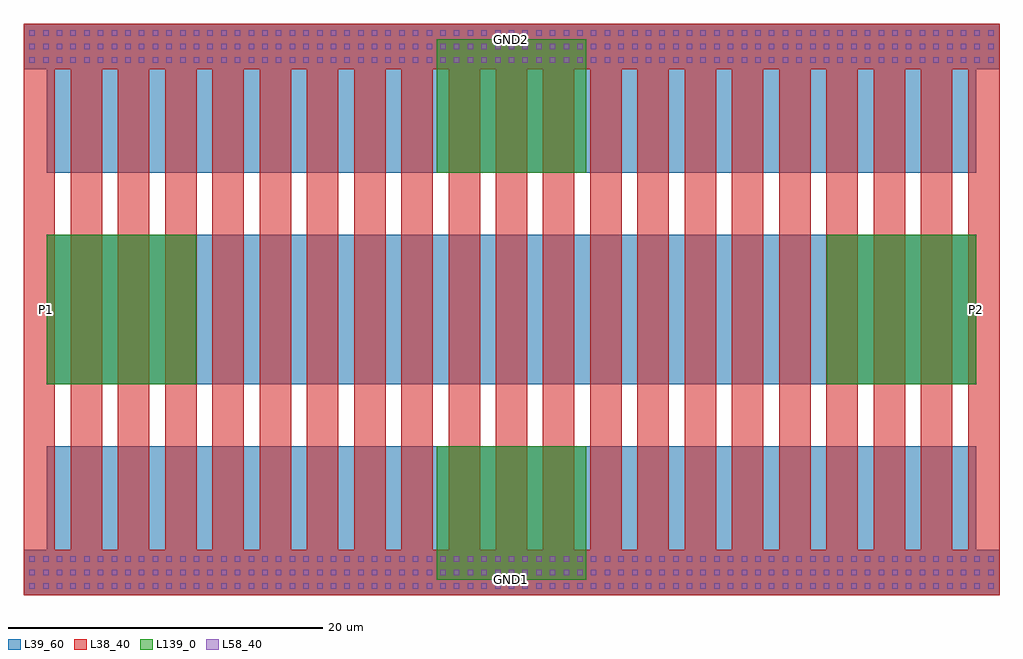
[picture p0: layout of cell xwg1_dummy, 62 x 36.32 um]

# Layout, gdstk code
import gdstk
lib = gdstk.Library(unit=1e-6, precision=1e-09)
def R(c, l, rs):  # rectangles x0, y0, x1, y1
    for r in rs: c.add(gdstk.rectangle(r[:2], r[2:], *l))
def A(c, l, x, y, w, h, nx, ny, dx, dy):  # array of equal rectangles
    R(c, l, [(x+i*dx, y+j*dy, x+i*dx+w, y+j*dy+h) for i in range(nx) for j in range(ny)])
L38_40 = (38, 40)
L39_60 = (39, 60)
L58_40 = (58, 40)
L139_0 = (139, 0)

xwg1_dummy = lib.new_cell('xwg1_dummy')
A(xwg1_dummy, L38_40, -1.485, -13.42, 2, 36.32, 21, 1, 3, 0)
R(xwg1_dummy, L38_40, [(-1.485,-13.42,60.515,-10.52), (-1.485,20,60.515,22.9)])
R(xwg1_dummy, L39_60, [(-1.485,-13.42,60.515,-10.52), (0,-12.42,59.03,-3.94), (0,0,59.03,9.48), (0,13.42,59.03,21.9), (-1.485,20,60.515,22.9)])
A(xwg1_dummy, L58_40, -1.11, -13.015, 0.35, 0.35, 71, 3, 0.87, 0.87)
A(xwg1_dummy, L58_40, -1.11, 20.405, 0.35, 0.35, 71, 3, 0.87, 0.87)
R(xwg1_dummy, L139_0, [(24.775,-12.42,34.255,-3.94), (0,0,9.48,9.48), (49.55,0,59.03,9.48), (24.775,13.42,34.255,21.9)])
xwg1_dummy.add(gdstk.Label('GND1', (29.515,-12.42), layer=139, texttype=0))
xwg1_dummy.add(gdstk.Label('GND2', (29.515,21.9), layer=139, texttype=0))
xwg1_dummy.add(gdstk.Label('P1', (0,4.74), layer=139, texttype=0))
xwg1_dummy.add(gdstk.Label('P2', (59.03,4.74), layer=139, texttype=0))

lib.write_gds('xwg1_dummy.gds')
